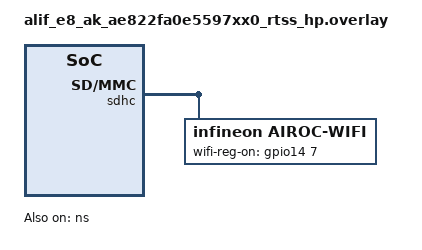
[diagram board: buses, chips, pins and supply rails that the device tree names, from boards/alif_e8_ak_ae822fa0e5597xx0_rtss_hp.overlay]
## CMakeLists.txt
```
# Copyright Alif Semiconductor - All Rights Reserved.
# Use, distribution and modification of this code is permitted under the
# terms stated in the Alif Semiconductor Software License Agreement.

cmake_minimum_required(VERSION 3.20.0)

# E8 DK overlay (gpio14.7 WL_REG_ON) is not valid on E7.
if("${BOARD}" MATCHES "^alif_e7_dk" AND
   "${DTC_OVERLAY_FILE}" MATCHES "alif_e8_dk")
  set(DTC_OVERLAY_FILE
      "${CMAKE_CURRENT_LIST_DIR}/boards/alif_e7_dk_ae722f80f55d5xx_rtss_hp.overlay"
      CACHE STRING "Devicetree overlay" FORCE)
  message(WARNING "alif_e7_dk cannot use the E8 wifi overlay; "
          "switched to alif_e7_dk_ae722f80f55d5xx_rtss_hp.overlay")
endif()

# Suite extras when selected via -DCONFIG_WIFI_TEST_*=y (no overlay .conf).
if(CONFIG_WIFI_TEST_P2P)
  list(APPEND EXTRA_CONF_FILE "${CMAKE_CURRENT_LIST_DIR}/extras-p2p.conf")
endif()
if(CONFIG_WIFI_TEST_ZPERF)
  list(APPEND EXTRA_CONF_FILE "${CMAKE_CURRENT_LIST_DIR}/extras-zperf.conf")
endif()

find_package(Zephyr REQUIRED HINTS $ENV{ZEPHYR_BASE})
project(alif_wifi_qa)

if(CONFIG_WIFI_TEST_AP)
  target_sources(app PRIVATE src/test_wifi_ap.c)
elseif(CONFIG_WIFI_TEST_P2P)
  target_sources(app PRIVATE src/test_wifi_p2p.c)
elseif(CONFIG_WIFI_TEST_ZPERF)
  target_sources(app PRIVATE src/test_wifi_zperf.c)
else()
  target_sources(app PRIVATE src/test_wifi_shell.c)
endif()
```

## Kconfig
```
source "Kconfig.zephyr"

menu "Alif Wi-Fi QA"

choice WIFI_TEST_SUITE
	prompt "Wi-Fi QA suite to compile"
	default WIFI_TEST_SHELL
	help
	  Pick one suite. No overlay .conf is required:

	    west build ... -- -DCONFIG_WIFI_TEST_AP=y

	  Or: west build -t menuconfig, then this menu.
	  Overlay-*.conf files still work if you prefer them.

config WIFI_TEST_SHELL
	bool "STA functional (scan/connect/ping)"
	select NET_STATISTICS
	select NET_STATISTICS_WIFI
	select NET_STATISTICS_USER_API

config WIFI_TEST_AP
	bool "SoftAP (wifi ap enable)"
	select NET_DHCPV4_SERVER
	select NET_STATISTICS
	select NET_STATISTICS_WIFI
	select NET_STATISTICS_USER_API

config WIFI_TEST_P2P
	bool "Wi-Fi Direct autonomous GO"
	select AIROC_WIFI_P2P
	select NET_DHCPV4_SERVER
	select NET_STATISTICS
	select NET_STATISTICS_WIFI
	select NET_STATISTICS_USER_API
	select MBEDTLS
	select MBEDTLS_ENABLE_HEAP
	select MBEDTLS_CIPHER_AES_ENABLED
	select MBEDTLS_CIPHER_MODE_CBC_ENABLED
	select MBEDTLS_MD
	select MBEDTLS_SHA256
	select MBEDTLS_DHM_C
	select ENTROPY_GENERATOR
	select TEST_RANDOM_GENERATOR

config WIFI_TEST_ZPERF
	bool "STA zperf throughput"
	select NET_ZPERF
	select DNS_RESOLVER

endchoice

config WIFI_SHELL_TEST_SSID
	string "STA SSID for shell QA"
	default ""

config WIFI_SHELL_TEST_PSK
	string "STA PSK for shell QA"
	default ""

config WIFI_SHELL_CONNECT_ATTEMPTS
	int "WiFi connect attempts"
	default 5

config WIFI_SHELL_SCAN_TIMEOUT_SEC
	int "WiFi scan timeout (seconds)"
	default 30

config WIFI_SHELL_CONNECT_TIMEOUT_SEC
	int "WiFi connect timeout (seconds)"
	default 60

config WIFI_SHELL_DISCONNECT_TIMEOUT_SEC
	int "WiFi disconnect timeout (seconds)"
	default 10

config WIFI_SHELL_PING_ATTEMPTS
	int "Gateway ping attempts"
	default 5

config WIFI_SHELL_PING_TIMEOUT_SEC
	int "Gateway ping timeout (seconds)"
	default 5

config WIFI_SHELL_STRESS_SCAN_ITERATIONS
	int "Repeated scan iterations"
	default 5

config WIFI_SHELL_STRESS_CONN_ITERATIONS
	int "Connect/disconnect cycles"
	default 3

config WIFI_SHELL_STRESS_STATUS_POLLS
	int "IFACE_STATUS polls while associated"
	default 20

config WIFI_SHELL_STRESS_PING_BURST
	int "ICMP burst count while associated"
	default 15

config WIFI_SHELL_NEG_CONNECT_TIMEOUT_SEC
	int "Negative connect timeout (seconds)"
	default 15

config WIFI_SHELL_DHCP_TIMEOUT_SEC
	int "DHCP timeout after associate (seconds)"
	default 15

config WIFI_AP_TEST_SSID
	string "SoftAP SSID"
	default "Alif-AP"

config WIFI_AP_TEST_PSK
	string "SoftAP WPA2-PSK"
	default "12345678"

config WIFI_AP_TEST_CHANNEL
	int "SoftAP channel"
	range 1 11
	default 6

config WIFI_AP_TEST_IP_ADDR
	string "SoftAP IPv4"
	default "192.168.4.1"

config WIFI_AP_TEST_NETMASK
	string "SoftAP netmask"
	default "255.255.255.0"

config WIFI_AP_TEST_DHCP_POOL_BASE
	string "SoftAP DHCP pool base"
	default "192.168.4.10"

config WIFI_AP_CLIENT_WAIT_MS
	int "Wait for SoftAP DHCP client (ms)"
	default 45000

config WIFI_ZPERF_TEST_SSID
	string "STA SSID for zperf"
	default ""

config WIFI_ZPERF_TEST_PSK
	string "STA PSK for zperf"
	default ""

config WIFI_ZPERF_SERVER_IP
	string "iperf server IPv4"
	default "10.0.0.78"

config WIFI_ZPERF_SERVER_PORT
	int "iperf server port"
	default 5001

config WIFI_ZPERF_TEST_DURATION_SEC
	int "zperf upload duration (seconds)"
	default 10

config WIFI_ZPERF_TCP_PACKET_SIZE
	int "TCP upload packet size"
	default 256

config WIFI_ZPERF_UDP_PACKET_SIZE
	int "UDP upload packet size"
	default 256

config WIFI_ZPERF_UDP_RATE_KBPS
	int "UDP target rate (kbps)"
	default 3000

config WIFI_ZPERF_MIN_TCP_THROUGHPUT_KBPS
	int "Minimum TCP throughput (kbps)"
	default 5000

config WIFI_ZPERF_MIN_UDP_THROUGHPUT_KBPS
	int "Minimum UDP throughput (kbps)"
	default 3000

config WIFI_ZPERF_CONNECT_TIMEOUT_SEC
	int "zperf Wi-Fi connect timeout (seconds)"
	default 30

config WIFI_ZPERF_DHCP_TIMEOUT_SEC
	int "zperf DHCP timeout (seconds)"
	default 15

config WIFI_ZPERF_STABILITY_ITERATIONS
	int "TCP/UDP stability runs"
	default 3

config WIFI_ZPERF_DOWNLOAD_PORT
	int "Device zperf download listen port"
	default 5002

config WIFI_ZPERF_DOWNLOAD_WAIT_SEC
	int "Wait for host iperf download client (seconds)"
	default 20

endmenu

# Suite extras. Additional defaults are appended; assignments that must
# win over Zephyr defaults are applied from extras-*.conf via CMake when
# -DCONFIG_WIFI_TEST_P2P=y or -DCONFIG_WIFI_TEST_ZPERF=y.

config MBEDTLS_HEAP_SIZE
	default 8192 if WIFI_TEST_P2P

config MBEDTLS_CTR_DRBG_ENABLED
	default n if WIFI_TEST_P2P

config MBEDTLS_KEY_EXCHANGE_RSA_ENABLED
	default n if WIFI_TEST_P2P

config NET_ZPERF_MAX_PACKET_SIZE
	default 1024 if WIFI_TEST_ZPERF

config ZPERF_WORK_Q_STACK_SIZE
	default 4096 if WIFI_TEST_ZPERF

config DNS_RESOLVER_MAX_SERVERS
	default 2 if WIFI_TEST_ZPERF
```

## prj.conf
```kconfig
CONFIG_LOG=y
CONFIG_SERIAL=y
CONFIG_GPIO=y
CONFIG_UART_CONSOLE=y
CONFIG_UART_INTERRUPT_DRIVEN=y
CONFIG_SHELL=y
CONFIG_SHELL_STACK_SIZE=5120
CONFIG_NET_SHELL=y
CONFIG_EARLY_CONSOLE=y

CONFIG_MAIN_STACK_SIZE=5120
CONFIG_ZTEST_STACK_SIZE=8192
CONFIG_NET_TX_STACK_SIZE=5120
CONFIG_NET_RX_STACK_SIZE=5120
CONFIG_NET_MGMT_EVENT_STACK_SIZE=2048
CONFIG_SYSTEM_WORKQUEUE_STACK_SIZE=8192
CONFIG_NET_SOCKETS_SERVICE_STACK_SIZE=5120
CONFIG_NET_TCP_WORKQ_STACK_SIZE=4096

CONFIG_NETWORKING=y
CONFIG_NET_IPV4=y
CONFIG_NET_IPV6=n
CONFIG_NET_UDP=y
CONFIG_NET_TCP=y
CONFIG_NET_DHCPV4=y
CONFIG_NET_MGMT_EVENT_INFO=y
CONFIG_NET_OFFLOAD=y
CONFIG_WIFI_OFFLOAD=y
CONFIG_NET_SOCKETS=y
CONFIG_ZVFS_POLL_MAX=16
CONFIG_ALIF_NET_PKT_SRAM0=y
CONFIG_NET_PKT_RX_COUNT=40
CONFIG_NET_PKT_TX_COUNT=40
CONFIG_NET_BUF_RX_COUNT=80
CONFIG_NET_BUF_TX_COUNT=80
CONFIG_NET_BUF_DATA_SIZE=1024
CONFIG_NET_MAX_CONTEXTS=10
CONFIG_NET_MAX_CONN=16
CONFIG_NET_TCP_MAX_RECV_WINDOW_SIZE=32768
CONFIG_NET_TCP_MAX_SEND_WINDOW_SIZE=32768
CONFIG_NET_IF_UNICAST_IPV4_ADDR_COUNT=2

CONFIG_WIFI=y
CONFIG_WIFI_AIROC=y
CONFIG_CYW43439=y
CONFIG_CYW43439_MURATA_1YN=y
CONFIG_NET_L2_WIFI_SHELL=y
CONFIG_WIFI_LOG_LEVEL_INF=y
CONFIG_HEAP_MEM_POOL_SIZE=28672
CONFIG_KERNEL_MEM_POOL=y

CONFIG_SDIO_STACK=y
CONFIG_SD_UHS_PROTOCOL=y
CONFIG_SDHC_RSP_136_HAS_CRC=y
CONFIG_SDHC_DWC=y
CONFIG_WIFI_INIT_PRIORITY=90
CONFIG_REGULATOR=y

CONFIG_ZTEST=y
CONFIG_WIFI_TEST_SHELL=y
```

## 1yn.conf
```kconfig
# Murata 1YN (CYW43439)
CONFIG_CYW43439=y
CONFIG_CYW43439_MURATA_1YN=y
CONFIG_CYW55500=n
```

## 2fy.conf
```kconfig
# Murata 2FY (CYW55500)
CONFIG_CYW43439=n
CONFIG_CYW43439_MURATA_1YN=n
CONFIG_CYW55500=y
```

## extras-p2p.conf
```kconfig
# Applied when -DCONFIG_WIFI_TEST_P2P=y (no overlay needed).
CONFIG_MBEDTLS_BUILTIN=y
CONFIG_MBEDTLS_HEAP_SIZE=8192
CONFIG_MBEDTLS_CTR_DRBG_ENABLED=n
CONFIG_MBEDTLS_KEY_EXCHANGE_RSA_ENABLED=n
CONFIG_WIFI_P2P_MAX_PEERS=16
CONFIG_AIROC_WIFI_P2P_DEVICE_NAME="mahesh's S23"
CONFIG_AIROC_WIFI_P2P_GO_PSK="Aadhya13$"
```

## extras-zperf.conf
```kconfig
# Applied when -DCONFIG_WIFI_TEST_ZPERF=y (no overlay needed).
CONFIG_NET_ZPERF_MAX_PACKET_SIZE=1024
CONFIG_ZPERF_WORK_Q_STACK_SIZE=4096
CONFIG_DNS_RESOLVER_MAX_SERVERS=2
```

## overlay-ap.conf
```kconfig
# SoftAP suite (wifi ap enable -s Alif-AP)
CONFIG_WIFI_TEST_AP=y
CONFIG_WIFI_TEST_SHELL=n
CONFIG_WIFI_TEST_P2P=n
CONFIG_WIFI_TEST_ZPERF=n

CONFIG_NET_DHCPV4_SERVER=y
CONFIG_NET_STATISTICS=y
CONFIG_NET_STATISTICS_WIFI=y
CONFIG_NET_STATISTICS_USER_API=y
```

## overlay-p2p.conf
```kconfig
# Wi-Fi Direct autonomous GO (wifi p2p group add -f 2437)
CONFIG_WIFI_TEST_P2P=y
CONFIG_WIFI_TEST_SHELL=n
CONFIG_WIFI_TEST_AP=n
CONFIG_WIFI_TEST_ZPERF=n

CONFIG_AIROC_WIFI_P2P=y
CONFIG_WIFI_MGMT_P2P=y
CONFIG_WIFI_P2P_MAX_PEERS=16
CONFIG_AIROC_WIFI_P2P_DEVICE_NAME="mahesh's S23"
CONFIG_AIROC_WIFI_P2P_GO_PSK="Aadhya13$"
CONFIG_NET_DHCPV4_SERVER=y
CONFIG_NET_STATISTICS=y
CONFIG_NET_STATISTICS_WIFI=y
CONFIG_NET_STATISTICS_USER_API=y

CONFIG_MBEDTLS=y
CONFIG_MBEDTLS_BUILTIN=y
CONFIG_MBEDTLS_ENABLE_HEAP=y
CONFIG_MBEDTLS_HEAP_SIZE=8192
CONFIG_MBEDTLS_CIPHER_AES_ENABLED=y
CONFIG_MBEDTLS_CIPHER_MODE_CBC_ENABLED=y
CONFIG_MBEDTLS_MD=y
CONFIG_MBEDTLS_SHA256=y
CONFIG_MBEDTLS_DHM_C=y
CONFIG_MBEDTLS_CTR_DRBG_ENABLED=n
CONFIG_MBEDTLS_KEY_EXCHANGE_RSA_ENABLED=n
CONFIG_ENTROPY_GENERATOR=y
CONFIG_TEST_RANDOM_GENERATOR=y
```

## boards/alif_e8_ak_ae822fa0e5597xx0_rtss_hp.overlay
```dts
/* Copyright Alif Semiconductor - All Rights Reserved.
 * Use, distribution and modification of this code is permitted under the
 * terms stated in the Alif Semiconductor Software License Agreement
 *
 * You should have received a copy of the Alif Semiconductor Software
 * License Agreement with this file. If not, please write to:
 * contact@alifsemi.com, or visit: https://alifsemi.com/license
 */

/* Match samples/net/wifi/shell: AK TGU NS window is 96K @ 0x20030000. */
ns: &ns {
	reg = <0x20030000 DT_SIZE_K(96)>;
	status = "okay";
};

&gpio14 {
	status = "okay";
};

&gpio3 {
	status = "okay";
};

&gpio0 {
	status = "okay";
};

sdhc: &sdhc {
	compatible = "snps,dwc-sdhc";
	status = "okay";

	airoc-wifi {
		compatible = "infineon,airoc-wifi";
		status = "okay";

		wifi-reg-on-gpios    = <&gpio14 7 GPIO_ACTIVE_HIGH>;
	};
};
```

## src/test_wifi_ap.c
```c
/* Copyright Alif Semiconductor - All Rights Reserved.
 * Use, distribution and modification of this code is permitted under the
 * terms stated in the Alif Semiconductor Software License Agreement
 *
 * You should have received a copy of the Alif Semiconductor Software
 * License Agreement with this file. If not, please write to:
 * contact@alifsemi.com, or visit: https://alifsemi.com/license
 */

#include <zephyr/ztest.h>
#include <zephyr/kernel.h>
#include <zephyr/device.h>
#include <zephyr/net/net_if.h>
#include <zephyr/net/net_ip.h>
#include <zephyr/net/net_stats.h>
#include <zephyr/net/wifi_mgmt.h>
#include <zephyr/net/wifi.h>
#include <zephyr/net/icmp.h>
#include <zephyr/net/dhcpv4_server.h>
#include <string.h>
#include <errno.h>

/*
 * Functional SoftAP QA. Matches samples/net/wifi/shell:
 *   wifi ap enable -s Alif-AP -c 6 -k 1 -p 12345678
 *   net ipv4 add 1 192.168.4.1 255.255.255.0
 *   net dhcpv4 server start 1 192.168.4.10
 * Phone/laptop joins Alif-AP, then ping 192.168.4.10.
 * This is SoftAP, not P2P GO (do not flash wifi_p2p).
 */
#define PING_WAIT_MS		3000

struct wifi_ap_qa_fixture {
	struct net_if *iface;
	bool ap_started;
};

static struct wifi_ap_qa_fixture g_ap;
static K_SEM_DEFINE(ping_sem, 0, 1);
static volatile int ping_replies;
static struct in_addr client_lease;

static int ping_handler(struct net_icmp_ctx *ctx, struct net_pkt *pkt,
			struct net_icmp_ip_hdr *ip_hdr,
			struct net_icmp_hdr *icmp_hdr, void *user_data)
{
	ARG_UNUSED(ctx);
	ARG_UNUSED(pkt);
	ARG_UNUSED(ip_hdr);
	ARG_UNUSED(icmp_hdr);
	ARG_UNUSED(user_data);

	ping_replies++;
	k_sem_give(&ping_sem);
	return 0;
}

static void lease_cb(struct net_if *iface, struct dhcpv4_addr_slot *lease, void *user_data)
{
	struct in_addr *out = user_data;

	ARG_UNUSED(iface);
	if (lease->state == DHCPV4_SERVER_ADDR_ALLOCATED) {
		*out = lease->addr;
	}
}

static bool ap_ipv4_ok(struct net_if *iface)
{
	struct in_addr addr;
	struct net_if *found = NULL;

	if (net_addr_pton(AF_INET, CONFIG_WIFI_AP_TEST_IP_ADDR, &addr) != 0) {
		return false;
	}
	return net_if_ipv4_addr_lookup(&addr, &found) != NULL && found == iface;
}

static int configure_ap_ipv4(struct net_if *iface)
{
	struct in_addr addr;
	struct in_addr mask;
	struct in_addr pool;
	int err;

	if (net_addr_pton(AF_INET, CONFIG_WIFI_AP_TEST_IP_ADDR, &addr) != 0) {
		return -EINVAL;
	}
	if (net_addr_pton(AF_INET, CONFIG_WIFI_AP_TEST_NETMASK, &mask) != 0) {
		return -EINVAL;
	}
	if (net_addr_pton(AF_INET, CONFIG_WIFI_AP_TEST_DHCP_POOL_BASE, &pool) != 0) {
		return -EINVAL;
	}

	net_if_ipv4_set_gw(iface, &addr);
	if (net_if_ipv4_addr_add(iface, &addr, NET_ADDR_MANUAL, 0) == NULL) {
		if (!ap_ipv4_ok(iface)) {
			return -EIO;
		}
	}
	if (!net_if_ipv4_set_netmask_by_addr(iface, &addr, &mask)) {
		return -EIO;
	}

	err = net_dhcpv4_server_start(iface, &pool);
	if (err == -EALREADY) {
		err = 0;
	}
	return err;
}

static int ap_enable(struct net_if *iface)
{
	struct wifi_connect_req_params params = { 0 };

	params.ssid = (const uint8_t *)CONFIG_WIFI_AP_TEST_SSID;
	params.ssid_length = strlen(CONFIG_WIFI_AP_TEST_SSID);
	params.psk = (const uint8_t *)CONFIG_WIFI_AP_TEST_PSK;
	params.psk_length = strlen(CONFIG_WIFI_AP_TEST_PSK);
	params.channel = CONFIG_WIFI_AP_TEST_CHANNEL;
	params.band = WIFI_FREQ_BAND_2_4_GHZ;
	params.security = WIFI_SECURITY_TYPE_PSK;
	params.mfp = WIFI_MFP_OPTIONAL;

	return net_mgmt(NET_REQUEST_WIFI_AP_ENABLE, iface, &params, sizeof(params));
}

static int ping_ipv4(struct net_if *iface, const struct in_addr *dst_addr, int timeout_ms)
{
	struct net_icmp_ctx ctx;
	struct sockaddr_in dst = { 0 };
	int err;

	ping_replies = 0;
	k_sem_reset(&ping_sem);

	err = net_icmp_init_ctx(&ctx, NET_ICMPV4_ECHO_REPLY, 0, ping_handler);
	if (err != 0) {
		return err;
	}

	dst.sin_family = AF_INET;
	dst.sin_addr = *dst_addr;
	err = net_icmp_send_echo_request(&ctx, iface, (struct sockaddr *)&dst, NULL, NULL);
	if (err != 0) {
		net_icmp_cleanup_ctx(&ctx);
		return err;
	}

	if (k_sem_take(&ping_sem, K_MSEC(timeout_ms)) != 0) {
		net_icmp_cleanup_ctx(&ctx);
		return -ETIMEDOUT;
	}
	net_icmp_cleanup_ctx(&ctx);
	return 0;
}

static void skip_if_no_ap(void)
{
	if (!g_ap.ap_started) {
		TC_PRINT("SoftAP not started, skip\n");
		ztest_test_skip();
	}
}

static void skip_if_no_client(void)
{
	skip_if_no_ap();
	memset(&client_lease, 0, sizeof(client_lease));
	net_dhcpv4_server_foreach_lease(g_ap.iface, lease_cb, &client_lease);
	if (client_lease.s_addr == 0) {
		TC_PRINT("No DHCPv4 lease; join SSID %s PSK %s and re-run\n",
			 CONFIG_WIFI_AP_TEST_SSID, CONFIG_WIFI_AP_TEST_PSK);
		ztest_test_skip();
	}
}

static void *ap_suite_setup(void)
{
	int retry = 50;
	int err;

	TC_PRINT("\n*** wifi_ap_qa ztest (SoftAP, not P2P / wifi shell sample) ***\n");
	TC_PRINT("SSID=%s ch=%d IPv4=%s DHCP=%s (sample: wifi ap enable -s %s -c %d -k 1 -p %s)\n",
		 CONFIG_WIFI_AP_TEST_SSID, CONFIG_WIFI_AP_TEST_CHANNEL,
		 CONFIG_WIFI_AP_TEST_IP_ADDR, CONFIG_WIFI_AP_TEST_DHCP_POOL_BASE,
		 CONFIG_WIFI_AP_TEST_SSID, CONFIG_WIFI_AP_TEST_CHANNEL,
		 CONFIG_WIFI_AP_TEST_PSK);

	while (retry-- > 0) {
		g_ap.iface = net_if_get_wifi_sap();
		if (g_ap.iface == NULL) {
			g_ap.iface = net_if_get_wifi_sta();
		}
		if (g_ap.iface != NULL) {
			break;
		}
		k_sleep(K_MSEC(100));
	}
	zassert_not_null(g_ap.iface, "No Wi-Fi interface");

	TC_PRINT("Waiting for WHD/AIROC firmware (iface may stay down until AP enable)\n");
	k_sleep(K_SECONDS(3));

	err = configure_ap_ipv4(g_ap.iface);
	zassert_equal(err, 0, "SoftAP IPv4/DHCP setup failed (%d)", err);

	err = ap_enable(g_ap.iface);
	if (err == -EALREADY || err == -EEXIST) {
		TC_PRINT("AP already up (%d)\n", err);
		err = 0;
	}
	zassert_equal(err, 0, "WIFI_AP_ENABLE failed (%d)", err);

	if (ap_ipv4_ok(g_ap.iface)) {
		g_ap.ap_started = true;
	}
	zassert_true(g_ap.ap_started, "AP IPv4 %s not configured",
		     CONFIG_WIFI_AP_TEST_IP_ADDR);
	net_if_dormant_off(g_ap.iface);
	(void)net_if_up(g_ap.iface);
	TC_PRINT("SoftAP started SSID=%s IPv4=%s ch=%d\n",
		 CONFIG_WIFI_AP_TEST_SSID, CONFIG_WIFI_AP_TEST_IP_ADDR,
		 CONFIG_WIFI_AP_TEST_CHANNEL);
	return &g_ap;
}

static void ap_suite_teardown(void *f)
{
	ARG_UNUSED(f);

	if (g_ap.iface != NULL && g_ap.ap_started) {
		net_if_dormant_off(g_ap.iface);
		(void)net_if_up(g_ap.iface);
	}
	TC_PRINT("SoftAP left up: join %s PSK %s, expect DHCP %s, ping\n",
		 CONFIG_WIFI_AP_TEST_SSID, CONFIG_WIFI_AP_TEST_PSK,
		 CONFIG_WIFI_AP_TEST_DHCP_POOL_BASE);
	TC_PRINT("Do not type wifi ap enable again on this boot (already AP is on)\n");
	TC_PRINT("Leftover: net iface should show wlan0 UP and %s\n",
		 CONFIG_WIFI_AP_TEST_IP_ADDR);
}

ZTEST(wifi_ap_basic, test_ap_ssid_len)
{
	zassert_true(strlen(CONFIG_WIFI_AP_TEST_SSID) >= 1, "SSID empty");
	zassert_true(strlen(CONFIG_WIFI_AP_TEST_SSID) <= WIFI_SSID_MAX_LEN, "SSID too long");
	zassert_true(strlen(CONFIG_WIFI_AP_TEST_PSK) >= 8, "PSK shorter than 8");
}

ZTEST(wifi_ap_basic, test_ap_ipv4_parse)
{
	struct in_addr addr;

	zassert_equal(net_addr_pton(AF_INET, CONFIG_WIFI_AP_TEST_IP_ADDR, &addr), 0);
	zassert_equal(net_addr_pton(AF_INET, CONFIG_WIFI_AP_TEST_DHCP_POOL_BASE, &addr), 0);
}

ZTEST(wifi_ap_basic, test_ap_channel_range)
{
	zassert_true(CONFIG_WIFI_AP_TEST_CHANNEL >= 1 && CONFIG_WIFI_AP_TEST_CHANNEL <= 11,
		     "channel %d not in 1..11", CONFIG_WIFI_AP_TEST_CHANNEL);
}

/*
 * Purpose : wlan0 / airoc-wifi present after WHD boot.
 * Method  : Fixture iface non-NULL; AP started.
 * Pass    : Prints device name and ap=1.
 */
ZTEST_F(wifi_ap_qa, test_ap_iface_ready)
{
	const struct device *dev;

	skip_if_no_ap();
	zassert_not_null(fixture->iface);
	dev = net_if_get_device(fixture->iface);
	TC_PRINT("device=%s ap=%d up=%d\n",
		 dev ? dev->name : "?", fixture->ap_started,
		 net_if_is_up(fixture->iface));
}

/*
 * Purpose : WLAN MAC is a real 6-byte address.
 * Method  : net_if_get_link_addr().
 */
ZTEST_F(wifi_ap_qa, test_ap_mac)
{
	struct net_linkaddr *ll;

	skip_if_no_ap();
	ll = net_if_get_link_addr(fixture->iface);
	zassert_not_null(ll);
	zassert_equal(ll->len, 6);
	zassert_false(ll->addr[0] == 0 && ll->addr[1] == 0 && ll->addr[2] == 0 &&
			      ll->addr[3] == 0 && ll->addr[4] == 0 && ll->addr[5] == 0,
		      "MAC is all-zero");
	TC_PRINT("Link addr %02x:%02x:%02x:%02x:%02x:%02x\n",
		 ll->addr[0], ll->addr[1], ll->addr[2],
		 ll->addr[3], ll->addr[4], ll->addr[5]);
}

/*
 * Purpose : MTU at least 1500 (sample 1544).
 */
ZTEST_F(wifi_ap_qa, test_ap_mtu)
{
	uint16_t mtu;

	skip_if_no_ap();
	mtu = net_if_get_mtu(fixture->iface);
	TC_PRINT("MTU %u\n", mtu);
	zassert_true(mtu >= 1500, "MTU %u < 1500", mtu);
}

/*
 * Purpose : SoftAP as sample wifi ap enable -s Alif-AP -c 6 -k 1 -p 12345678.
 * Method  : Suite setup already called AP_ENABLE; check ap_started.
 */
ZTEST_F(wifi_ap_qa, test_ap_enable)
{
	skip_if_no_ap();
	TC_PRINT("SoftAP SSID=%s ch=%d IPv4=%s\n",
		 CONFIG_WIFI_AP_TEST_SSID, CONFIG_WIFI_AP_TEST_CHANNEL,
		 CONFIG_WIFI_AP_TEST_IP_ADDR);
}

/*
 * Purpose : SoftAP IPv4 192.168.4.1/24.
 */
ZTEST_F(wifi_ap_qa, test_ap_ipv4)
{
	skip_if_no_ap();
	zassert_true(ap_ipv4_ok(fixture->iface), "missing %s", CONFIG_WIFI_AP_TEST_IP_ADDR);
	TC_PRINT("AP IPv4 %s\n", CONFIG_WIFI_AP_TEST_IP_ADDR);
}

/*
 * Purpose : After AP enable, record oper/carrier.
 * Method  : Print flags. Pass if AP IPv4 is configured.
 */
ZTEST_F(wifi_ap_qa, test_ap_carrier)
{
	skip_if_no_ap();
	TC_PRINT("iface_up=%d carrier=%d\n",
		 net_if_is_up(fixture->iface), net_if_is_carrier_ok(fixture->iface));
}

/*
 * Purpose : iface status SSID=Alif-AP and mode AP.
 * Method  : NET_REQUEST_WIFI_IFACE_STATUS.
 */
ZTEST_F(wifi_ap_qa, test_ap_ssid)
{
	struct wifi_iface_status st = { 0 };
	int err;

	skip_if_no_ap();
	err = net_mgmt(NET_REQUEST_WIFI_IFACE_STATUS, fixture->iface, &st, sizeof(st));
	if (err != 0 || st.ssid_len == 0) {
		TC_PRINT("iface status SSID unavailable (%d); AP still up\n", err);
		ztest_test_skip();
	}
	zassert_equal(st.ssid_len, strlen(CONFIG_WIFI_AP_TEST_SSID));
	zassert_mem_equal(st.ssid, CONFIG_WIFI_AP_TEST_SSID, st.ssid_len);
	TC_PRINT("SSID=%.*s channel=%u mode=%d\n", st.ssid_len, st.ssid, st.channel,
		 st.iface_mode);
}

/*
 * Purpose : SoftAP iface status fields the AIROC driver fills.
 * Method  : NET_REQUEST_WIFI_IFACE_STATUS after AP_ENABLE.
 */
ZTEST_F(wifi_ap_qa, test_ap_link_params)
{
	struct wifi_iface_status st = { 0 };
	int err;

	skip_if_no_ap();
	err = net_mgmt(NET_REQUEST_WIFI_IFACE_STATUS, fixture->iface, &st, sizeof(st));
	zassert_equal(err, 0, "IFACE_STATUS %d", err);
	TC_PRINT("mode=%d band=%s ch=%u sec=%s twt=%d beacon=%u dtim=%u rate=%u\n",
		 st.iface_mode, wifi_band_txt(st.band), st.channel,
		 wifi_security_txt(st.security), st.twt_capable,
		 st.beacon_interval, st.dtim_period, st.current_phy_tx_rate);
	zassert_equal(st.iface_mode, WIFI_MODE_AP, "not AP mode");
	zassert_false(st.twt_capable, "AIROC twt_capable=false");
	if (st.channel != 0) {
		zassert_true(st.channel >= 1 && st.channel <= 14, "bad AP ch %u", st.channel);
	}
}

/*
 * Purpose : SoftAP BSSID / own BSS MAC from WHD.
 */
ZTEST_F(wifi_ap_qa, test_ap_bssid)
{
	struct wifi_iface_status st = { 0 };
	int err;

	skip_if_no_ap();
	err = net_mgmt(NET_REQUEST_WIFI_IFACE_STATUS, fixture->iface, &st, sizeof(st));
	if (err != 0 || (st.bssid[0] == 0 && st.bssid[1] == 0 && st.bssid[2] == 0 &&
			 st.bssid[3] == 0 && st.bssid[4] == 0 && st.bssid[5] == 0)) {
		TC_PRINT("AP BSSID unavailable\n");
		ztest_test_skip();
	}
	TC_PRINT("AP BSSID %02x:%02x:%02x:%02x:%02x:%02x\n",
		 st.bssid[0], st.bssid[1], st.bssid[2],
		 st.bssid[3], st.bssid[4], st.bssid[5]);
}

/*
 * Purpose : SoftAP was enabled as WPA2-PSK (sample -k 1).
 * Method  : IFACE_STATUS security. WHD get_ap_info on SoftAP often
 *           returns WIFI_SECURITY_TYPE_UNKNOWN (21); that is a status
 *           mapping gap, not an open AP. Client join already used PSK.
 */
ZTEST_F(wifi_ap_qa, test_ap_security)
{
	struct wifi_iface_status st = { 0 };
	int err;

	skip_if_no_ap();
	err = net_mgmt(NET_REQUEST_WIFI_IFACE_STATUS, fixture->iface, &st, sizeof(st));
	if (err != 0 || st.ssid_len == 0) {
		TC_PRINT("AP security unavailable\n");
		ztest_test_skip();
	}
	TC_PRINT("AP security %s (%d)\n", wifi_security_txt(st.security), st.security);
	zassert_not_equal(st.security, WIFI_SECURITY_TYPE_NONE, "SoftAP must not be OPEN");
	if (st.security == WIFI_SECURITY_TYPE_UNKNOWN) {
		TC_PRINT("WHD SoftAP status security unmapped; AP enable used WPA2-PSK\n");
		return;
	}
	zassert_true(st.security == WIFI_SECURITY_TYPE_PSK ||
			     st.security == WIFI_SECURITY_TYPE_PSK_SHA256 ||
			     st.security == WIFI_SECURITY_TYPE_WPA_AUTO_PERSONAL ||
			     st.security == WIFI_SECURITY_TYPE_WPA_PSK,
		     "expected PSK family, got %d", st.security);
}

/*
 * Purpose : Beacon / DTIM from WHD BSS info while SoftAP is up.
 */
ZTEST_F(wifi_ap_qa, test_ap_beacon_dtim)
{
	struct wifi_iface_status st = { 0 };
	int err;

	skip_if_no_ap();
	err = net_mgmt(NET_REQUEST_WIFI_IFACE_STATUS, fixture->iface, &st, sizeof(st));
	if (err != 0 || st.beacon_interval == 0) {
		TC_PRINT("beacon/DTIM unavailable\n");
		ztest_test_skip();
	}
	TC_PRINT("beacon=%u dtim=%u\n", st.beacon_interval, st.dtim_period);
	zassert_true(st.beacon_interval >= 50 && st.beacon_interval <= 1000,
		     "beacon %u", st.beacon_interval);
}

/*
 * Purpose : ap_sta_disconnect is not implemented on AIROC.
 */
ZTEST_F(wifi_ap_qa, test_ap_sta_disconnect_notsup)
{
	uint8_t mac[WIFI_MAC_ADDR_LEN] = { 0 };
	int err;

	skip_if_no_ap();
	err = net_mgmt(NET_REQUEST_WIFI_AP_STA_DISCONNECT, fixture->iface, mac, sizeof(mac));
	TC_PRINT("AP_STA_DISCONNECT %d\n", err);
	zassert_equal(err, -ENOTSUP, "expected -ENOTSUP, got %d", err);
}

/*
 * Purpose : Wi-Fi stats API works on SoftAP.
 * Method  : NET_REQUEST_STATS_GET_WIFI.
 */
ZTEST_F(wifi_ap_qa, test_ap_stats)
{
	struct net_stats_wifi stats = { 0 };
	int err;

	skip_if_no_ap();
	err = net_mgmt(NET_REQUEST_STATS_GET_WIFI, fixture->iface, &stats, sizeof(stats));
	if (err != 0) {
		TC_PRINT("Wi-Fi stats unavailable (%d)\n", err);
		ztest_test_skip();
	}
	TC_PRINT("stats pkts.tx=%u pkts.rx=%u bytes.tx=%u bytes.rx=%u\n",
		 stats.pkts.tx, stats.pkts.rx, stats.bytes.sent, stats.bytes.received);
}

/*
 * Purpose : Poll SoftAP status repeatedly; AP must stay up (no leftover kill).
 */
ZTEST_F(wifi_ap_qa, test_ap_stress_status)
{
	struct wifi_iface_status st = { 0 };
	int err;
	int n = 15;

	skip_if_no_ap();
	for (int i = 0; i < n; i++) {
		memset(&st, 0, sizeof(st));
		err = net_mgmt(NET_REQUEST_WIFI_IFACE_STATUS, fixture->iface, &st, sizeof(st));
		zassert_equal(err, 0, "status poll %d failed %d", i + 1, err);
		zassert_equal(st.iface_mode, WIFI_MODE_AP, "poll %d not AP", i + 1);
		k_sleep(K_MSEC(200));
	}
	TC_PRINT("SoftAP status polls %d OK\n", n);
}

/*
 * Purpose : Second wifi ap enable is rejected (Already AP is on).
 * Method  : AP_ENABLE while AP is up.
 * Pass    : -EAGAIN / -EALREADY / -EEXIST / -EBUSY.
 */
ZTEST_F(wifi_ap_qa, test_ap_second_enable)
{
	int err;

	skip_if_no_ap();
	err = ap_enable(fixture->iface);
	TC_PRINT("second AP_ENABLE %d\n", err);
	zassert_true(err == -EAGAIN || err == -EALREADY || err == -EEXIST || err == -EBUSY,
		     "expected already-on, got %d", err);
}

/*
 * Purpose : STA connect is rejected while SoftAP is up.
 * Method  : NET_REQUEST_WIFI_CONNECT dummy SSID.
 * Pass    : -EBUSY (AIROC: Network interface is busy in STA/AP).
 */
ZTEST_F(wifi_ap_qa, test_ap_sta_busy)
{
	struct wifi_connect_req_params params = { 0 };
	static const char ssid[] = "Alif-Wireless";
	static const char psk[] = "12345678";
	int err;

	skip_if_no_ap();
	params.ssid = (const uint8_t *)ssid;
	params.ssid_length = sizeof(ssid) - 1;
	params.psk = (const uint8_t *)psk;
	params.psk_length = sizeof(psk) - 1;
	params.security = WIFI_SECURITY_TYPE_PSK;
	params.channel = WIFI_CHANNEL_ANY;
	params.band = WIFI_FREQ_BAND_2_4_GHZ;
	err = net_mgmt(NET_REQUEST_WIFI_CONNECT, fixture->iface, &params, sizeof(params));
	TC_PRINT("STA CONNECT while AP %d\n", err);
	zassert_true(err == -EBUSY || err == -EAGAIN || err == -EALREADY,
		     "expected busy, got %d", err);
	net_if_dormant_off(fixture->iface);
	(void)net_if_up(fixture->iface);
}

/*
 * Purpose : Phone/laptop join Alif-AP then DHCPv4 ALLOCATED 192.168.4.10.
 * Method  : Wait up to WIFI_AP_CLIENT_WAIT_MS for a lease.
 * Pass    : Lease, or SKIP if no client.
 */
ZTEST_F(wifi_ap_qa, test_ap_client_dhcp)
{
	int waits = CONFIG_WIFI_AP_CLIENT_WAIT_MS / 1000;

	skip_if_no_ap();
	memset(&client_lease, 0, sizeof(client_lease));
	for (int i = 0; i < waits; i++) {
		net_dhcpv4_server_foreach_lease(fixture->iface, lease_cb, &client_lease);
		if (client_lease.s_addr != 0) {
			char buf[NET_IPV4_ADDR_LEN];

			net_addr_ntop(AF_INET, &client_lease, buf, sizeof(buf));
			TC_PRINT("DHCPv4 ALLOCATED %s\n", buf);
			return;
		}
		k_sleep(K_SECONDS(1));
	}
	TC_PRINT("No client in %d s; join SSID %s PSK %s\n",
		 waits, CONFIG_WIFI_AP_TEST_SSID, CONFIG_WIFI_AP_TEST_PSK);
	ztest_test_skip();
}

/*
 * Purpose : ICMP echo to the DHCP client (sample net ping 192.168.4.10).
 */
ZTEST_F(wifi_ap_qa, test_ap_client_ping)
{
	int err;

	skip_if_no_client();
	err = ping_ipv4(fixture->iface, &client_lease, PING_WAIT_MS);
	if (err == -ETIMEDOUT) {
		TC_PRINT("No ICMP reply from client\n");
		ztest_test_skip();
	}
	zassert_equal(err, 0, "ping failed (%d)", err);
	TC_PRINT("PING client: %d reply(ies)\n", ping_replies);
}

/*
 * Purpose : Do not disable SoftAP so leftover join still works.
 * Method  : Skip AP_DISABLE (same leftover pattern as P2P GO).
 */
ZTEST_F(wifi_ap_qa, test_ap_disable)
{
	skip_if_no_ap();
	TC_PRINT("Skip AP_DISABLE: AP left up for leftover phone/laptop join\n");
	ztest_test_skip();
}

ZTEST_SUITE(wifi_ap_basic, NULL, NULL, NULL, NULL, NULL);
ZTEST_SUITE(wifi_ap_qa, NULL, ap_suite_setup, NULL, NULL, ap_suite_teardown);
```

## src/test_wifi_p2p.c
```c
/* Copyright Alif Semiconductor - All Rights Reserved.
 * Use, distribution and modification of this code is permitted under the
 * terms stated in the Alif Semiconductor Software License Agreement
 *
 * You should have received a copy of the Alif Semiconductor Software
 * License Agreement with this file. If not, please write to:
 * contact@alifsemi.com, or visit: https://alifsemi.com/license
 */

#include <zephyr/ztest.h>
#include <zephyr/kernel.h>
#include <zephyr/device.h>
#include <zephyr/net/net_if.h>
#include <zephyr/net/net_ip.h>
#include <zephyr/net/wifi_mgmt.h>
#include <zephyr/net/wifi.h>
#include <zephyr/net/net_stats.h>
#include <zephyr/net/icmp.h>
#include <zephyr/net/dhcpv4_server.h>
#include <string.h>
#include <errno.h>

/*
 * Matches samples/net/wifi/shell + overlay-p2p.conf:
 *   wifi p2p group add -f 2437
 *   SSID=DIRECT-Al, device name=mahesh's S23, PSK=Aadhya13$
 *   GO 192.168.50.1, DHCP pool 192.168.50.10+
 *   Phone: Provision Discovery / WPS PBC / authorized, then ping.
 * Limitation: reboot before another GO (remove then add does not restore DHCP).
 */
#define P2P_GO_FREQ_MHZ		2437
#define P2P_GO_CHANNEL		6
#define P2P_CLIENT_WAIT_MS	45000
#define PING_WAIT_MS		3000

struct wifi_p2p_qa_fixture {
	struct net_if *iface;
	bool go_started;
};

static struct wifi_p2p_qa_fixture g_p2p;
static K_SEM_DEFINE(ping_sem, 0, 1);
static volatile int ping_replies;
static struct in_addr client_lease;

static int ping_handler(struct net_icmp_ctx *ctx, struct net_pkt *pkt,
			struct net_icmp_ip_hdr *ip_hdr,
			struct net_icmp_hdr *icmp_hdr, void *user_data)
{
	ARG_UNUSED(ctx);
	ARG_UNUSED(pkt);
	ARG_UNUSED(ip_hdr);
	ARG_UNUSED(icmp_hdr);
	ARG_UNUSED(user_data);

	ping_replies++;
	k_sem_give(&ping_sem);
	return 0;
}

static void lease_cb(struct net_if *iface, struct dhcpv4_addr_slot *lease, void *user_data)
{
	struct in_addr *out = user_data;

	ARG_UNUSED(iface);
	if (lease->state == DHCPV4_SERVER_ADDR_ALLOCATED) {
		*out = lease->addr;
	}
}

static bool go_ipv4_ok(struct net_if *iface)
{
	struct in_addr addr;
	struct net_if *found = NULL;

	if (net_addr_pton(AF_INET, CONFIG_AIROC_WIFI_P2P_GO_IP_ADDR, &addr) != 0) {
		return false;
	}
	return net_if_ipv4_addr_lookup(&addr, &found) != NULL && found == iface;
}

static int p2p_group_add(struct net_if *iface, int freq)
{
	struct wifi_p2p_params params = { 0 };

	params.oper = WIFI_P2P_GROUP_ADD;
	params.group_add.freq = freq;
	params.group_add.persistent = -1;
	return net_mgmt(NET_REQUEST_WIFI_P2P_OPER, iface, &params, sizeof(params));
}

static int ping_ipv4(struct net_if *iface, const struct in_addr *dst_addr, int timeout_ms)
{
	struct net_icmp_ctx ctx;
	struct sockaddr_in dst = { 0 };
	int err;

	ping_replies = 0;
	k_sem_reset(&ping_sem);

	err = net_icmp_init_ctx(&ctx, NET_ICMPV4_ECHO_REPLY, 0, ping_handler);
	if (err != 0) {
		return err;
	}

	dst.sin_family = AF_INET;
	dst.sin_addr = *dst_addr;
	err = net_icmp_send_echo_request(&ctx, iface, (struct sockaddr *)&dst, NULL, NULL);
	if (err != 0) {
		net_icmp_cleanup_ctx(&ctx);
		return err;
	}

	if (k_sem_take(&ping_sem, K_MSEC(timeout_ms)) != 0) {
		net_icmp_cleanup_ctx(&ctx);
		return -ETIMEDOUT;
	}
	net_icmp_cleanup_ctx(&ctx);
	return 0;
}

static void skip_if_no_go(void)
{
	if (!g_p2p.go_started) {
		TC_PRINT("P2P GO not started, skip\n");
		ztest_test_skip();
	}
}

static void skip_if_no_client(void)
{
	skip_if_no_go();
	memset(&client_lease, 0, sizeof(client_lease));
	net_dhcpv4_server_foreach_lease(g_p2p.iface, lease_cb, &client_lease);
	if (client_lease.s_addr == 0) {
		TC_PRINT("No DHCPv4 lease; connect phone Wi-Fi Direct to %s and re-run\n",
			 CONFIG_AIROC_WIFI_P2P_GO_SSID);
		ztest_test_skip();
	}
}

static void *p2p_suite_setup(void)
{
	int retry = 50;
	int err;
	int waited;

	TC_PRINT("\n*** wifi_p2p_qa ztest (not wifi shell sample) ***\n");
	TC_PRINT("SSID=%s GO=%s freq=%d (sample: wifi p2p group add -f %d)\n",
		 CONFIG_AIROC_WIFI_P2P_GO_SSID, CONFIG_AIROC_WIFI_P2P_GO_IP_ADDR,
		 P2P_GO_FREQ_MHZ, P2P_GO_FREQ_MHZ);

	while (retry-- > 0) {
		g_p2p.iface = net_if_get_wifi_sta();
		if (g_p2p.iface != NULL) {
			break;
		}
		k_sleep(K_MSEC(100));
	}
	zassert_not_null(g_p2p.iface, "No Wi-Fi interface");

	/*
	 * STA iface stays down until autonomous GO starts (sample: group add
	 * then net iface oper=UP). Do not wait for net_if_is_up() here.
	 */
	TC_PRINT("Waiting for WHD/AIROC firmware (iface may stay down until GO)\n");
	k_sleep(K_SECONDS(3));

	err = p2p_group_add(g_p2p.iface, P2P_GO_FREQ_MHZ);
	if (err == -EALREADY || err == -EEXIST) {
		TC_PRINT("P2P GROUP_ADD already active (%d)\n", err);
		err = 0;
	}
	zassert_equal(err, 0, "P2P GROUP_ADD failed (%d)", err);

	for (waited = 0; waited < 150; waited++) {
		if (go_ipv4_ok(g_p2p.iface)) {
			g_p2p.go_started = true;
			break;
		}
		k_sleep(K_MSEC(100));
	}
	zassert_true(g_p2p.go_started, "GO IPv4 %s not configured",
		     CONFIG_AIROC_WIFI_P2P_GO_IP_ADDR);
	TC_PRINT("P2P autonomous GO started SSID=%s IPv4=%s\n",
		 CONFIG_AIROC_WIFI_P2P_GO_SSID, CONFIG_AIROC_WIFI_P2P_GO_IP_ADDR);
	return &g_p2p;
}

static void p2p_suite_teardown(void *f)
{
	ARG_UNUSED(f);

	TC_PRINT("P2P GO left up: phone Wi-Fi Direct -> %s (SSID %s PSK %s), expect DHCP %s, ping\n",
		 CONFIG_AIROC_WIFI_P2P_DEVICE_NAME, CONFIG_AIROC_WIFI_P2P_GO_SSID,
		 CONFIG_AIROC_WIFI_P2P_GO_PSK, CONFIG_AIROC_WIFI_P2P_GO_DHCP_POOL_BASE);
	TC_PRINT("Do not wifi p2p group remove then add without reboot (DHCP limitation)\n");
}

ZTEST(wifi_p2p_basic, test_ssid_direct_prefix)
{
	zassert_true(strncmp(CONFIG_AIROC_WIFI_P2P_GO_SSID, "DIRECT-", 7) == 0,
		     "Wi-Fi Direct SSID must start with DIRECT-");
	zassert_true(strlen(CONFIG_AIROC_WIFI_P2P_GO_SSID) >= 9, "SSID length < 9");
}

ZTEST(wifi_p2p_basic, test_go_ipv4_parse)
{
	struct in_addr addr;

	zassert_equal(net_addr_pton(AF_INET, CONFIG_AIROC_WIFI_P2P_GO_IP_ADDR, &addr), 0);
	zassert_equal(addr.s4_addr[0], 192);
	zassert_equal(addr.s4_addr[3], 1);
}

ZTEST(wifi_p2p_basic, test_freq_2437)
{
	zassert_equal(P2P_GO_FREQ_MHZ, 2437);
	zassert_equal(P2P_GO_CHANNEL, 6);
}

/*
 * Wi-Fi Interface Ready
 *
 * Purpose : wlan0 / airoc-wifi after WHD boot (sample MAC / firmware lines).
 * Method  : net_if_get_wifi_sta(); GO start is the oper-up signal.
 * Pass    : Iface present and GO started or iface up.
 * Fail    : No iface.
 */
ZTEST_F(wifi_p2p_qa, test_p2p_iface_ready)
{
	zassert_not_null(fixture->iface);
	zassert_true(fixture->go_started || net_if_is_up(fixture->iface),
		     "Wi-Fi iface not ready");
	TC_PRINT("Wi-Fi iface %s go=%d up=%d\n",
		 net_if_get_device(fixture->iface)->name,
		 fixture->go_started ? 1 : 0,
		 net_if_is_up(fixture->iface) ? 1 : 0);
}

/*
 * P2P MAC
 *
 * Purpose : Link addr printed in sample (F0:3E:05:D7:F2:72).
 * Method  : net_if_get_link_addr().
 * Pass    : 6-byte MAC, not all-zero.
 * Fail    : Missing MAC.
 */
ZTEST_F(wifi_p2p_qa, test_p2p_mac)
{
	struct net_linkaddr *ll = net_if_get_link_addr(fixture->iface);
	static const uint8_t zero[6];

	zassert_not_null(ll);
	zassert_equal(ll->len, 6);
	zassert_true(memcmp(ll->addr, zero, 6) != 0, "MAC all-zero");
	TC_PRINT("Link addr %02x:%02x:%02x:%02x:%02x:%02x\n",
		 ll->addr[0], ll->addr[1], ll->addr[2],
		 ll->addr[3], ll->addr[4], ll->addr[5]);
}

/*
 * P2P MTU
 *
 * Purpose : Sample net iface MTU 1544.
 * Method  : net_if_get_mtu().
 * Pass    : MTU >= 1500.
 * Fail    : Too small.
 */
ZTEST_F(wifi_p2p_qa, test_p2p_mtu)
{
	uint16_t mtu = net_if_get_mtu(fixture->iface);

	zassert_true(mtu >= 1500, "MTU %u", mtu);
	TC_PRINT("MTU %u\n", mtu);
}

/*
 * P2P Group Add
 *
 * Purpose : Sample `wifi p2p group add -f 2437` (channel 6).
 * Method  : GROUP_ADD in suite setup; assert GO flag.
 * Pass    : go_started.
 * Fail    : GROUP_ADD or IPv4 missing.
 */
ZTEST_F(wifi_p2p_qa, test_p2p_group_add)
{
	zassert_true(fixture->go_started, "autonomous GO not started");
	TC_PRINT("P2P autonomous GO started on %d MHz (ch %d) SSID=%s\n",
		 P2P_GO_FREQ_MHZ, P2P_GO_CHANNEL, CONFIG_AIROC_WIFI_P2P_GO_SSID);
}

/*
 * GO IPv4
 *
 * Purpose : Sample 192.168.50.1/24 DHCPv4 server.
 * Method  : net_if_ipv4_addr_lookup().
 * Pass    : CONFIG_AIROC_WIFI_P2P_GO_IP_ADDR on wlan0.
 * Fail    : Address missing.
 */
ZTEST_F(wifi_p2p_qa, test_p2p_go_ipv4)
{
	skip_if_no_go();
	zassert_true(go_ipv4_ok(fixture->iface), "GO IPv4 missing");
	TC_PRINT("GO IPv4 %s\n", CONFIG_AIROC_WIFI_P2P_GO_IP_ADDR);
}

/*
 * Carrier
 *
 * Purpose : Sample Status after GO (IPv4 192.168.50.1).
 * Method  : Print oper/carrier; GO IPv4 is the pass signal.
 * Pass    : GO started.
 * Fail    : GO not started.
 */
ZTEST_F(wifi_p2p_qa, test_p2p_carrier)
{
	skip_if_no_go();
	TC_PRINT("iface_up=%d carrier=%d (GO IPv4 is the bring-up signal)\n",
		 net_if_is_up(fixture->iface) ? 1 : 0,
		 net_if_is_carrier_ok(fixture->iface) ? 1 : 0);
}

/*
 * GO SSID
 *
 * Purpose : Sample SSID=DIRECT-Al.
 * Method  : NET_REQUEST_WIFI_IFACE_STATUS.
 * Pass    : SSID matches Kconfig, or skip if status has empty SSID.
 * Fail    : Wrong SSID.
 */
ZTEST_F(wifi_p2p_qa, test_p2p_ssid)
{
	struct wifi_iface_status st = { 0 };
	int err;

	skip_if_no_go();
	err = net_mgmt(NET_REQUEST_WIFI_IFACE_STATUS, fixture->iface, &st, sizeof(st));
	if (err != 0 || st.ssid_len == 0) {
		TC_PRINT("iface status SSID unavailable (%d); GO still up\n", err);
		ztest_test_skip();
	}
	zassert_equal(st.ssid_len, strlen(CONFIG_AIROC_WIFI_P2P_GO_SSID));
	zassert_mem_equal(st.ssid, CONFIG_AIROC_WIFI_P2P_GO_SSID, st.ssid_len);
	TC_PRINT("SSID=%.*s channel=%u\n", st.ssid_len, st.ssid, st.channel);
}

/*
 * Purpose : GO iface status (mode AP, ch 6, TWT false).
 */
ZTEST_F(wifi_p2p_qa, test_p2p_link_params)
{
	struct wifi_iface_status st = { 0 };
	int err;

	skip_if_no_go();
	err = net_mgmt(NET_REQUEST_WIFI_IFACE_STATUS, fixture->iface, &st, sizeof(st));
	zassert_equal(err, 0, "IFACE_STATUS %d", err);
	TC_PRINT("mode=%d band=%s ch=%u twt=%d beacon=%u\n",
		 st.iface_mode, wifi_band_txt(st.band), st.channel,
		 st.twt_capable, st.beacon_interval);
	zassert_true(st.iface_mode == WIFI_MODE_AP || st.iface_mode == WIFI_MODE_P2P_GO,
		     "unexpected GO mode %d", st.iface_mode);
	zassert_false(st.twt_capable, "AIROC twt_capable=false");
	if (st.channel != 0) {
		zassert_true(st.channel >= 1 && st.channel <= 14, "bad GO ch %u", st.channel);
	}
}

/*
 * Purpose : GO BSSID from WHD.
 */
ZTEST_F(wifi_p2p_qa, test_p2p_bssid)
{
	struct wifi_iface_status st = { 0 };
	int err;

	skip_if_no_go();
	err = net_mgmt(NET_REQUEST_WIFI_IFACE_STATUS, fixture->iface, &st, sizeof(st));
	if (err != 0 || (st.bssid[0] == 0 && st.bssid[1] == 0 && st.bssid[2] == 0 &&
			 st.bssid[3] == 0 && st.bssid[4] == 0 && st.bssid[5] == 0)) {
		TC_PRINT("GO BSSID unavailable\n");
		ztest_test_skip();
	}
	TC_PRINT("GO BSSID %02x:%02x:%02x:%02x:%02x:%02x\n",
		 st.bssid[0], st.bssid[1], st.bssid[2],
		 st.bssid[3], st.bssid[4], st.bssid[5]);
}

/*
 * Purpose : Wi-Fi stats on P2P GO (needs CONFIG_NET_STATISTICS_WIFI).
 */
ZTEST_F(wifi_p2p_qa, test_p2p_stats)
{
	struct net_stats_wifi stats = { 0 };
	int err;

	skip_if_no_go();
	err = net_mgmt(NET_REQUEST_STATS_GET_WIFI, fixture->iface, &stats, sizeof(stats));
	if (err != 0) {
		TC_PRINT("Wi-Fi stats %d\n", err);
		ztest_test_skip();
	}
	TC_PRINT("GO stats pkts.tx=%u pkts.rx=%u bytes.tx=%u bytes.rx=%u\n",
		 stats.pkts.tx, stats.pkts.rx, stats.bytes.sent, stats.bytes.received);
}

/*
 * Purpose : Poll GO iface status repeatedly; group must stay up.
 */
ZTEST_F(wifi_p2p_qa, test_p2p_stress_status)
{
	struct wifi_iface_status st = { 0 };
	int err;
	int n = 15;

	skip_if_no_go();
	for (int i = 0; i < n; i++) {
		memset(&st, 0, sizeof(st));
		err = net_mgmt(NET_REQUEST_WIFI_IFACE_STATUS, fixture->iface, &st, sizeof(st));
		zassert_equal(err, 0, "status poll %d failed %d", i + 1, err);
		zassert_true(st.iface_mode == WIFI_MODE_AP || st.iface_mode == WIFI_MODE_P2P_GO,
			     "poll %d unexpected mode %d", i + 1, st.iface_mode);
		k_sleep(K_MSEC(200));
	}
	TC_PRINT("GO status polls %d OK\n", n);
}

/*
 * P2P Find / Stop
 *
 * Purpose : Shell `wifi p2p find` / `wifi p2p stop_find` (social channels).
 * Method  : WIFI_P2P_FIND then WIFI_P2P_STOP_FIND.
 * Pass    : Both net_mgmt return 0. Skip if GO path rejects find.
 * Fail    : Unexpected error other than not-supported.
 */
ZTEST_F(wifi_p2p_qa, test_p2p_find_stop)
{
	struct wifi_p2p_params params = { 0 };
	int err;

	params.oper = WIFI_P2P_FIND;
	params.discovery_type = WIFI_P2P_FIND_ONLY_SOCIAL;
	params.timeout = 3;
	err = net_mgmt(NET_REQUEST_WIFI_P2P_OPER, fixture->iface, &params, sizeof(params));
	if (err != 0) {
		TC_PRINT("P2P find %d (OK if GO already up)\n", err);
		ztest_test_skip();
	}
	k_sleep(K_SECONDS(1));
	memset(&params, 0, sizeof(params));
	params.oper = WIFI_P2P_STOP_FIND;
	err = net_mgmt(NET_REQUEST_WIFI_P2P_OPER, fixture->iface, &params, sizeof(params));
	zassert_equal(err, 0, "P2P stop find %d", err);
	TC_PRINT("P2P find/stop OK\n");
}

/*
 * P2P Peer Query
 *
 * Purpose : Shell `wifi p2p peer`.
 * Method  : WIFI_P2P_PEER into a small array.
 * Pass    : Request returns 0 (count may be 0).
 * Fail    : net_mgmt error.
 */
ZTEST_F(wifi_p2p_qa, test_p2p_peer_query)
{
	struct wifi_p2p_device_info peers[4];
	struct wifi_p2p_params params = { 0 };
	int err;

	memset(peers, 0, sizeof(peers));
	memset(params.peer_addr, 0xff, sizeof(params.peer_addr));
	params.oper = WIFI_P2P_PEER;
	params.peers = peers;
	params.peer_count = ARRAY_SIZE(peers);
	err = net_mgmt(NET_REQUEST_WIFI_P2P_OPER, fixture->iface, &params, sizeof(params));
	if (err != 0) {
		TC_PRINT("P2P peer query %d\n", err);
		ztest_test_skip();
	}
	TC_PRINT("P2P peers listed: %u\n", params.peer_count);
}

/*
 * Client DHCP
 *
 * Purpose : Sample `net dhcpv4 server status` ALLOCATED 192.168.50.10
 *           after phone WPS/assoc.
 * Method  : Wait up to 45 s for an ALLOCATED lease.
 * Pass    : At least one lease. Skip if no phone.
 * Fail    : foreach API error.
 */
ZTEST_F(wifi_p2p_qa, test_p2p_client_dhcp)
{
	int waits = P2P_CLIENT_WAIT_MS / 1000;

	skip_if_no_go();
	memset(&client_lease, 0, sizeof(client_lease));
	for (int i = 0; i < waits; i++) {
		net_dhcpv4_server_foreach_lease(fixture->iface, lease_cb, &client_lease);
		if (client_lease.s_addr != 0) {
			char buf[NET_IPV4_ADDR_LEN];

			net_addr_ntop(AF_INET, &client_lease, buf, sizeof(buf));
			TC_PRINT("DHCPv4 ALLOCATED %s\n", buf);
			return;
		}
		k_sleep(K_SECONDS(1));
	}
	TC_PRINT("No DHCP lease after %d s (phone associated is not enough)\n", waits);
	TC_PRINT("Join Wi-Fi Direct %s SSID %s PSK %s / WPS PBC\n",
		 CONFIG_AIROC_WIFI_P2P_DEVICE_NAME,
		 CONFIG_AIROC_WIFI_P2P_GO_SSID, CONFIG_AIROC_WIFI_P2P_GO_PSK);
	ztest_test_skip();
}

/*
 * Client Ping
 *
 * Purpose : Sample `net ping 192.168.50.10`.
 * Method  : ICMP echo to first ALLOCATED lease.
 * Pass    : Reply. Skip if no lease.
 * Fail    : Send error other than timeout (timeout → skip).
 */
ZTEST_F(wifi_p2p_qa, test_p2p_client_ping)
{
	int err;

	skip_if_no_client();
	err = ping_ipv4(fixture->iface, &client_lease, PING_WAIT_MS);
	if (err == -ETIMEDOUT) {
		TC_PRINT("No ICMP reply from client\n");
		ztest_test_skip();
	}
	zassert_equal(err, 0, "ping failed (%d)", err);
	TC_PRINT("PING client: %d reply(ies)\n", ping_replies);
}

/*
 * Group already active
 *
 * Purpose : Second wifi p2p group add is rejected (P2P group already active).
 * Method  : GROUP_ADD while GO is up.
 * Pass    : -EALREADY / -EEXIST / -EAGAIN / -EBUSY.
 */
ZTEST_F(wifi_p2p_qa, test_p2p_group_add_already)
{
	int err;

	skip_if_no_go();
	err = p2p_group_add(fixture->iface, P2P_GO_FREQ_MHZ);
	TC_PRINT("second GROUP_ADD %d\n", err);
	zassert_true(err == -EALREADY || err == -EEXIST || err == -EAGAIN || err == -EBUSY,
		     "expected already-active, got %d", err);
}

/*
 * P2P connect not implemented
 *
 * Purpose : wifi p2p connect is not supported (GO only).
 * Method  : WIFI_P2P_CONNECT.
 * Pass    : -ENOTSUP.
 */
ZTEST_F(wifi_p2p_qa, test_p2p_connect_notsup)
{
	struct wifi_p2p_params params = { 0 };
	int err;

	skip_if_no_go();
	params.oper = WIFI_P2P_CONNECT;
	err = net_mgmt(NET_REQUEST_WIFI_P2P_OPER, fixture->iface, &params, sizeof(params));
	TC_PRINT("P2P CONNECT %d\n", err);
	zassert_equal(err, -ENOTSUP, "expected -ENOTSUP, got %d", err);
}

/*
 * P2P invite not implemented
 *
 * Purpose : wifi p2p invite is not supported.
 * Method  : WIFI_P2P_INVITE.
 * Pass    : -ENOTSUP.
 */
ZTEST_F(wifi_p2p_qa, test_p2p_invite_notsup)
{
	struct wifi_p2p_params params = { 0 };
	int err;

	skip_if_no_go();
	params.oper = WIFI_P2P_INVITE;
	err = net_mgmt(NET_REQUEST_WIFI_P2P_OPER, fixture->iface, &params, sizeof(params));
	TC_PRINT("P2P INVITE %d\n", err);
	zassert_equal(err, -ENOTSUP, "expected -ENOTSUP, got %d", err);
}

/*
 * P2P persistent list not implemented
 *
 * Purpose : wifi p2p list_networks is not supported.
 * Method  : WIFI_P2P_LIST_NETWORKS.
 * Pass    : -ENOTSUP.
 */
ZTEST_F(wifi_p2p_qa, test_p2p_list_notsup)
{
	struct wifi_p2p_params params = { 0 };
	int err;

	skip_if_no_go();
	params.oper = WIFI_P2P_LIST_NETWORKS;
	err = net_mgmt(NET_REQUEST_WIFI_P2P_OPER, fixture->iface, &params, sizeof(params));
	TC_PRINT("P2P LIST_NETWORKS %d\n", err);
	zassert_equal(err, -ENOTSUP, "expected -ENOTSUP, got %d", err);
}

/*
 * P2P GO power save
 *
 * Purpose : wifi p2p power_save on then off while GO is up.
 * Method  : WIFI_P2P_POWER_SAVE true, then false (leave GO awake).
 * Pass    : Both return 0, or SKIP if firmware rejects PS.
 */
ZTEST_F(wifi_p2p_qa, test_p2p_power_save)
{
	struct wifi_p2p_params params = { 0 };
	int err;

	skip_if_no_go();
	params.oper = WIFI_P2P_POWER_SAVE;
	params.power_save = true;
	err = net_mgmt(NET_REQUEST_WIFI_P2P_OPER, fixture->iface, &params, sizeof(params));
	if (err != 0) {
		TC_PRINT("P2P power_save on %d (firmware NoA/OppPS reject)\n", err);
		ztest_test_skip();
	}
	params.power_save = false;
	err = net_mgmt(NET_REQUEST_WIFI_P2P_OPER, fixture->iface, &params, sizeof(params));
	if (err != 0) {
		TC_PRINT("P2P power_save off %d (p2p_noa not supported on this GO)\n", err);
		ztest_test_skip();
	}
	TC_PRINT("P2P power_save on/off OK\n");
}

/*
 * Group Remove
 *
 * Purpose : Sample limitation: remove then add does not restore DHCP.
 * Method  : Do not call GROUP_REMOVE (would break leftover GO / host ping).
 * Pass    : Skip is expected.
 * Fail    : N/A.
 */
ZTEST_F(wifi_p2p_qa, test_p2p_group_remove)
{
	skip_if_no_go();
	TC_PRINT("Skip GROUP_REMOVE: reboot required before another GO (sample limitation)\n");
	ztest_test_skip();
}

ZTEST_SUITE(wifi_p2p_basic, NULL, NULL, NULL, NULL, NULL);
ZTEST_SUITE(wifi_p2p_qa, NULL, p2p_suite_setup, NULL, NULL, p2p_suite_teardown);
```
